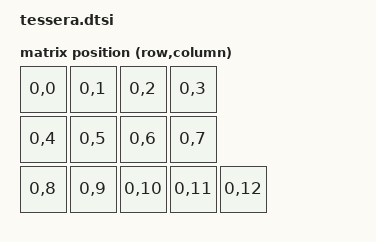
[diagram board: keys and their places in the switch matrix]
#include <dt-bindings/zmk/matrix_transform.h>
#include "tessera-layouts.dtsi"

/ {
    chosen {
        zmk,physical-layout = &tessera_layout;
    };

    tessera_transform: matrix_transform {
        compatible = "zmk,matrix-transform";
        rows = <1>;
        columns = <13>;
        map = <
            RC(0,0)  RC(0,1)  RC(0,2)  RC(0,3)
            RC(0,4)  RC(0,5)  RC(0,6)  RC(0,7)
            RC(0,8)  RC(0,9)  RC(0,10) RC(0,11) RC(0,12)
        >;
    };
};
